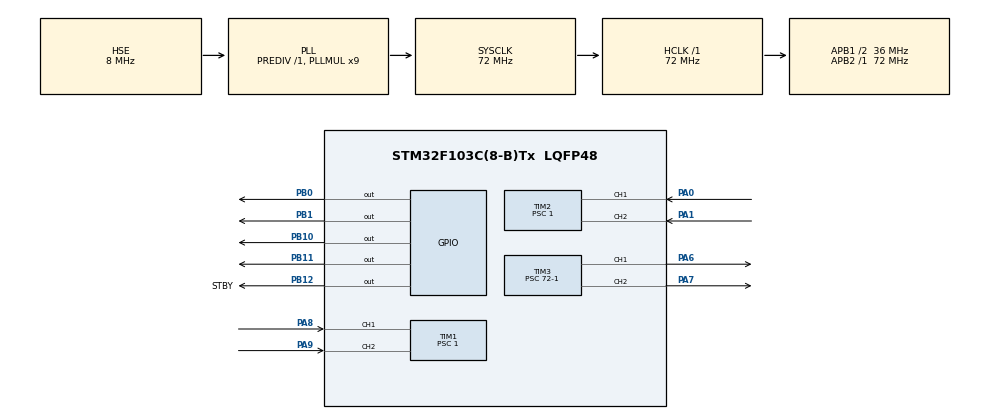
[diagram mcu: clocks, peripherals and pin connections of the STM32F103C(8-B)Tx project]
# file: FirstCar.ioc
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Mcu.Family=STM32F1
Mcu.Name=STM32F103C(8-B)Tx
Mcu.Package=LQFP48
NVIC.PriorityGroup=NVIC_PRIORITYGROUP_4
NVIC.TIM4_IRQn=true\:15\:0\:true\:false\:true\:true\:true\:true
PA0-WKUP.Signal=S_TIM2_CH1_ETR
PA1.Signal=S_TIM2_CH2
PA13.Mode=Serial_Wire
PA13.Signal=SYS_JTMS-SWDIO
PA14.Mode=Serial_Wire
PA14.Signal=SYS_JTCK-SWCLK
PA6.Signal=S_TIM3_CH1
PA7.Signal=S_TIM3_CH2
PA8.Signal=S_TIM1_CH1
PA9.Signal=S_TIM1_CH2
PB0.Signal=GPIO_Output
PB1.Signal=GPIO_Output
PB10.Signal=GPIO_Output
PB11.Signal=GPIO_Output
PB12.GPIO_Label=STBY
PB12.GPIO_PuPd=GPIO_PULLUP
PB12.PinState=GPIO_PIN_SET
PB12.Signal=GPIO_Output
PD0-OSC_IN.Mode=HSE-External-Oscillator
PD0-OSC_IN.Signal=RCC_OSC_IN
PD1-OSC_OUT.Mode=HSE-External-Oscillator
PD1-OSC_OUT.Signal=RCC_OSC_OUT
ProjectManager.HeapSize=0x200
ProjectManager.StackSize=0x400
ProjectManager.TargetToolchain=CMake
RCC.AHBFreq_Value=72000000
RCC.APB1CLKDivider=RCC_HCLK_DIV2
RCC.APB1Freq_Value=36000000
RCC.APB1TimFreq_Value=72000000
RCC.APB2Freq_Value=72000000
RCC.APB2TimFreq_Value=72000000
RCC.HCLKFreq_Value=72000000
RCC.PLLMUL=RCC_PLL_MUL9
RCC.PLLSourceVirtual=RCC_PLLSOURCE_HSE
RCC.SYSCLKFreq_VALUE=72000000
RCC.SYSCLKSource=RCC_SYSCLKSOURCE_PLLCLK
RCC.USBFreq_Value=72000000
SH.S_TIM1_CH1.0=TIM1_CH1,Encoder_Interface
SH.S_TIM1_CH2.0=TIM1_CH2,Encoder_Interface
SH.S_TIM2_CH1_ETR.0=TIM2_CH1,Encoder_Interface
SH.S_TIM2_CH2.0=TIM2_CH2,Encoder_Interface
SH.S_TIM3_CH1.0=TIM3_CH1,PWM Generation1 CH1
SH.S_TIM3_CH2.0=TIM3_CH2,PWM Generation2 CH2
TIM1.EncoderMode=TIM_ENCODERMODE_TI12
TIM1.Prescaler=1
TIM2.EncoderMode=TIM_ENCODERMODE_TI12
TIM2.Prescaler=1
TIM3.Channel-PWM\ Generation1\ CH1=TIM_CHANNEL_1
TIM3.Channel-PWM\ Generation2\ CH2=TIM_CHANNEL_2
TIM3.CounterMode=TIM_COUNTERMODE_UP
TIM3.Period=1000-1
TIM3.Prescaler=72-1
TIM4.Period=100-1
TIM4.Prescaler=72-1
VP_TIM4_VS_ClockSourceINT.Mode=Internal
board=custom

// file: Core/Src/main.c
/* USER CODE BEGIN Header */
/**
  ******************************************************************************
  * @file           : main.c
  * @brief          : Main program body
  ******************************************************************************
  * @attention
  *
  * Copyright (c) 2026 STMicroelectronics.
  * All rights reserved.
  *
  * This software is licensed under terms that can be found in the LICENSE file
  * in the root directory of this software component.
  * If no LICENSE file comes with this software, it is provided AS-IS.
  *
  ******************************************************************************
  */
/* USER CODE END Header */
#include "main.h"
#include "tim.h"
#include "gpio.h"

/* USER CODE BEGIN PD */

// #define GPIO_PIN_12 STBY
/* USER CODE END PD */

/* USER CODE BEGIN PV */
int16_t encoder_left_now=0;
int16_t encoder_left_last=0;
int16_t speed_left=0;

int16_t encoder_right_now=0;
int16_t encoder_right_last=0;
int16_t speed_right=0;
/* USER CODE END PV */

void SystemClock_Config(void);

int main(void)
{

  /* MCU Configuration--------------------------------------------------------*/

  /* Reset of all peripherals, Initializes the Flash interface and the Systick. */
  HAL_Init();

  /* Configure the system clock */
  SystemClock_Config();

  /* Initialize all configured peripherals */
  MX_GPIO_Init();
  MX_TIM3_Init();
  MX_TIM1_Init();
  MX_TIM2_Init();
  MX_TIM4_Init();
  /* USER CODE BEGIN 2 */
  HAL_TIM_PWM_Start(&htim3, TIM_CHANNEL_1);
  HAL_TIM_PWM_Start(&htim3, TIM_CHANNEL_2);
  HAL_TIM_Encoder_Start(&htim2, TIM_CHANNEL_ALL);
  HAL_TIM_Encoder_Start(&htim1, TIM_CHANNEL_ALL);

  HAL_TIM_Base_Start_IT(&htim4);
  /* USER CODE END 2 */

  /* Infinite loop */
  /* USER CODE BEGIN WHILE */
  while (1)
  {
    // 验证：电机能转
    // 测试代码：
    // 左电机方向（反转）
    HAL_GPIO_WritePin(GPIOB, GPIO_PIN_0, 0);
    HAL_GPIO_WritePin(GPIOB, GPIO_PIN_1, 1);

    // 右电机方向（反转）
    HAL_GPIO_WritePin(GPIOB, GPIO_PIN_10, 0);
    HAL_GPIO_WritePin(GPIOB, GPIO_PIN_11, 1);

    // 设置占空比：
    __HAL_TIM_SET_COMPARE(&htim3, TIM_CHANNEL_1, 100);
    __HAL_TIM_SET_COMPARE(&htim3, TIM_CHANNEL_2, 100);

    /* USER CODE END WHILE */

  }
}

void SystemClock_Config(void)
{
  RCC_OscInitTypeDef RCC_OscInitStruct = {0};
  RCC_ClkInitTypeDef RCC_ClkInitStruct = {0};

  /** Initializes the RCC Oscillators according to the specified parameters
  * in the RCC_OscInitTypeDef structure.
  */
  RCC_OscInitStruct.OscillatorType = RCC_OSCILLATORTYPE_HSE;
  RCC_OscInitStruct.HSEState = RCC_HSE_ON;
  RCC_OscInitStruct.HSEPredivValue = RCC_HSE_PREDIV_DIV1;
  RCC_OscInitStruct.HSIState = RCC_HSI_ON;
  RCC_OscInitStruct.PLL.PLLState = RCC_PLL_ON;
  RCC_OscInitStruct.PLL.PLLSource = RCC_PLLSOURCE_HSE;
  RCC_OscInitStruct.PLL.PLLMUL = RCC_PLL_MUL9;
  if (HAL_RCC_OscConfig(&RCC_OscInitStruct) != HAL_OK)
  {
    Error_Handler();
  }

  /** Initializes the CPU, AHB and APB buses clocks
  */
  RCC_ClkInitStruct.ClockType = RCC_CLOCKTYPE_HCLK|RCC_CLOCKTYPE_SYSCLK
                              |RCC_CLOCKTYPE_PCLK1|RCC_CLOCKTYPE_PCLK2;
  RCC_ClkInitStruct.SYSCLKSource = RCC_SYSCLKSOURCE_PLLCLK;
  RCC_ClkInitStruct.AHBCLKDivider = RCC_SYSCLK_DIV1;
  RCC_ClkInitStruct.APB1CLKDivider = RCC_HCLK_DIV2;
  RCC_ClkInitStruct.APB2CLKDivider = RCC_HCLK_DIV1;

  if (HAL_RCC_ClockConfig(&RCC_ClkInitStruct, FLASH_LATENCY_2) != HAL_OK)
  {
    Error_Handler();
  }
}

/* USER CODE BEGIN 4 */
void Encoder_Update(void)
{
    encoder_left_now = __HAL_TIM_GET_COUNTER(&htim2);
    encoder_right_now = __HAL_TIM_GET_COUNTER(&htim1);

    speed_left = encoder_left_now - encoder_left_last;
    speed_right = encoder_right_now - encoder_right_last;

    encoder_left_last = encoder_left_now;
    encoder_right_last = encoder_right_now;
}

void HAL_TIM_PeriodElapsedCallback(TIM_HandleTypeDef *htim)
{
    if(htim->Instance == TIM4)
    {
        Encoder_Update();
    }
}
/* USER CODE END 4 */

void Error_Handler(void)
{
  __disable_irq();
  while (1)
  {
  }
}
